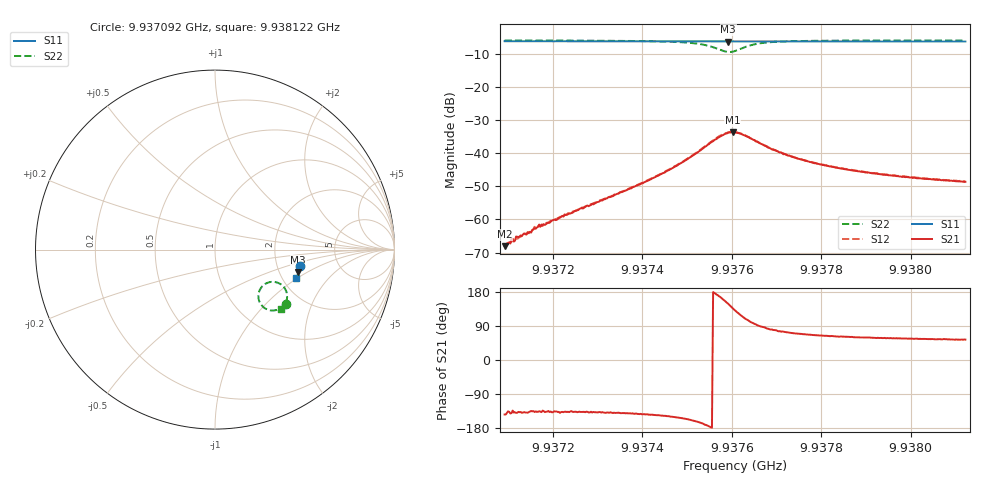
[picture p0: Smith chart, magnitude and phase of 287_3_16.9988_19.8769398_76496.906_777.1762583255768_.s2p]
#  HZ  S  RI  R  50.00
! Rohde & Schwarz Vector Network Analyzer
! Rohde-Schwarz,ZNB20-2Port,1311601062101988,3.16
! Created: UTC 3/20/2024, 11:04:57 PM
! freq[Hz]  re:S11  im:S11  re:S21  im:S21  re:S12  im:S12  re:S22  im:S22
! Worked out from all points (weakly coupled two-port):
!   401 points, 9.937092 GHz to 9.938122 GHz, reference 50 ohm
!   highest |S21| = -33.70 dB at 9.937602 GHz (marker M1); lowest = -68.1 dB at 9.937092 GHz (marker M2)
!   lowest |S11| = -6.4 dB at 9.937592 GHz (marker M3), VSWR 2.84, Z = 127 - j41.4 ohm
!   |S11| at or under -10 dB: nowhere
!   |S22| runs from -9.5 to -6.1 dB; largest |S21 - S12| = 0.00092
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9.9370918e9  0.4753 -0.0938  -0.000319 -0.000233  -0.000305 -0.000263  0.3932 -0.3049
9.9371073e9  0.4748 -0.0947  -0.000396 -0.000331  -0.000343 -0.000305  0.392 -0.3063
9.9371228e9  0.4745 -0.0958  -0.000396 -0.00037  -0.000401 -0.000335  0.3909 -0.3074
9.9371459e9  0.4742 -0.0973  -0.000456 -0.000417  -0.000467 -0.000438  0.3891 -0.309
9.9371691e9  0.4737 -0.0989  -0.000596 -0.000587  -0.000573 -0.000544  0.3871 -0.3109
9.9371872e9  0.4735 -0.1  -0.000635 -0.000606  -0.000661 -0.000604  0.3858 -0.3123
9.9372644e9  0.4719 -0.1052  -0.0011 -0.00102  -0.00112 -0.000991  0.3781 -0.3186
9.9373701e9  0.4698 -0.1124  -0.00222 -0.00182  -0.00229 -0.00182  0.3629 -0.3287
9.937437e9  0.4683 -0.1169  -0.00382 -0.0026  -0.00394 -0.0026  0.3458 -0.3361
9.9374937e9  0.4667 -0.1209  -0.00682 -0.00324  -0.007 -0.0032  0.3181 -0.3396
9.9375375e9  0.4653 -0.1237  -0.0119 -0.00221  -0.0121 -0.00209  0.2777 -0.3263
9.9375684e9  0.4638 -0.1253  -0.0167 0.00252  -0.017 0.00316  0.2441 -0.2803
9.9375916e9  0.463 -0.1259  -0.0173 0.0106  -0.017 0.0114  0.2537 -0.217
9.9376019e9  0.4631 -0.1262  -0.015 0.0142  -0.0148 0.0147  0.2759 -0.1935
9.937607e9  0.4631 -0.1263  -0.0133 0.0154  -0.0132 0.0159  0.2903 -0.186
9.9376354e9  0.4635 -0.1277  -0.00469 0.0171  -0.00407 0.0172  0.3613 -0.1901
9.9376637e9  0.4635 -0.1298  0.00031 0.0139  0.000628 0.0142  0.3925 -0.2226
9.9377204e9  0.4626 -0.134  0.00269 0.00913  0.00306 0.00917  0.4015 -0.2669
9.9377796e9  0.4612 -0.1382  0.00292 0.00658  0.00306 0.00657  0.3967 -0.2898
9.9378466e9  0.4597 -0.1426  0.00276 0.00512  0.00285 0.00511  0.3902 -0.3043
9.9379522e9  0.457 -0.1496  0.00248 0.0039  0.00259 0.00392  0.3808 -0.3183
9.9381222e9  0.4526 -0.1606  0.00217 0.00297  0.00227 0.00295  0.3687 -0.333
